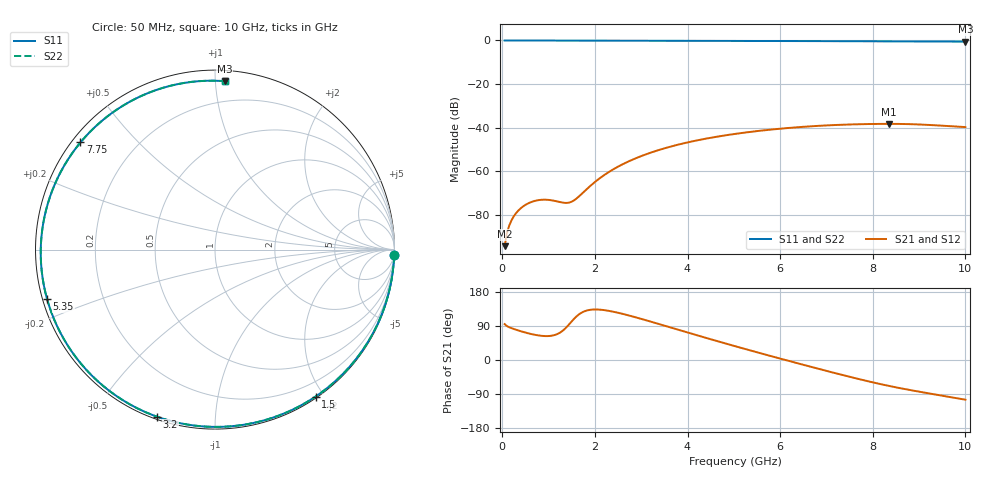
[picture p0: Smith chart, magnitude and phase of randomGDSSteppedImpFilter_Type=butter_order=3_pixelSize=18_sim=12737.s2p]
! freq	dB(S11)	phase(S11)	dB(S12)	phase(S12)
!  dB(S21)	phase(S21)	dB(S22)	phase(S22)
!S-par simulation data
#  GHz  S  DB  R 50
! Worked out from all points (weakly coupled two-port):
!   200 points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, 50 MHz to 10 GHz, reference 50 ohm
!   highest |S21| = -38.22 dB at 8.35 GHz (marker M1); lowest = -94.3 dB at 50 MHz (marker M2)
!   lowest |S11| = -0.5 dB at 10 GHz (marker M3), VSWR 32.21, Z = 3.29 + j52.9 ohm
!   |S11| at or under -10 dB: nowhere
!   |S22| runs from -0.5 to 0.0 dB; largest |S21 - S12| = 0
!   S11 on the Smith chart (normalised r, x): 50 MHz: 1, -62; 1.5 GHz: 0.02, -1.90; 3.2 GHz: 0.01, -0.71; 5.35 GHz: 0.01, -0.14; 7.75 GHz: 0.02, +0.35; 10 GHz: 0.07, +1.06
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0.05  -0.00 -1.9  -94.27 94.8  -94.27 94.8  -0.00 -1.9
0.25  -0.02 -9.5  -80.53 81.8  -80.53 81.8  -0.02 -9.5
0.5  -0.03 -19.1  -75.34 72.4  -75.34 72.4  -0.03 -19.1
0.75  -0.04 -28.5  -73.30 65.4  -73.30 65.4  -0.04 -28.5
1  -0.05 -37.7  -73.06 63.2  -73.06 63.2  -0.05 -37.7
1.35  -0.06 -50.3  -74.43 82.1  -74.43 82.1  -0.06 -50.3
1.5  -0.07 -55.6  -73.86 102.1  -73.86 102.1  -0.07 -55.6
1.75  -0.08 -64.2  -69.62 127.3  -69.62 127.3  -0.08 -64.2
2.05  -0.09 -74.1  -64.02 133.3  -64.02 133.3  -0.09 -74.1
2.4  -0.10 -85.3  -59.01 127.4  -59.01 127.4  -0.10 -85.3
2.75  -0.11 -96.0  -55.20 117.0  -55.20 117.0  -0.11 -96.0
3.2  -0.13 -109.1  -51.45 101.5  -51.45 101.5  -0.13 -109.1
3.4  -0.13 -114.6  -50.07 94.3  -50.07 94.3  -0.13 -114.6
4.25  -0.17 -137.0  -45.60 63.6  -45.60 63.6  -0.17 -137.0
5.05  -0.20 -156.6  -42.75 35.6  -42.75 35.6  -0.20 -156.6
5.35  -0.22 -163.6  -41.92 25.4  -41.92 25.4  -0.22 -163.6
6  -0.25 -178.6  -40.44 3.7  -40.44 3.7  -0.25 -178.6
6.7  -0.30 165.5  -39.29 -19.1  -39.29 -19.1  -0.30 165.5
7.75  -0.37 141.4  -38.37 -51.8  -38.37 -51.8  -0.37 141.4
8.35  -0.41 127.4  -38.22 -68.4  -38.22 -68.4  -0.41 127.4
9.2  -0.48 106.8  -38.70 -87.9  -38.70 -87.9  -0.48 106.8
10  -0.54 86.7  -39.70 -104.8  -39.70 -104.8  -0.54 86.7
